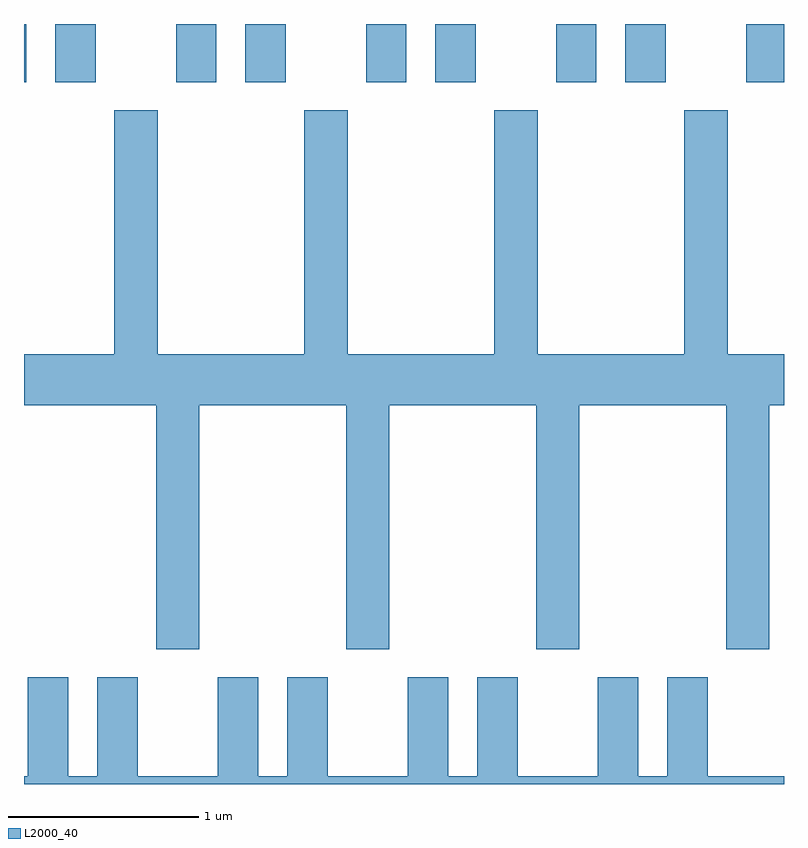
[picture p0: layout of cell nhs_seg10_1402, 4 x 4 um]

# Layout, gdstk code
import gdstk
lib = gdstk.Library(unit=1e-6, precision=1e-09)
def R(c, l, rs):  # rectangles x0, y0, x1, y1
    for r in rs: c.add(gdstk.rectangle(r[:2], r[2:], *l))
def P(c, l, *ps):  # polygons
    for p in ps: c.add(gdstk.Polygon(p, *l))
L2000_40 = (2000, 40)

nhs_seg10_1402 = lib.new_cell('nhs_seg10_1402')
R(nhs_seg10_1402, L2000_40, [(225.611,2182.216,225.624,2182.522), (225.776,2182.216,225.989,2182.522), (226.411,2182.216,226.624,2182.522), (226.776,2182.216,226.989,2182.522), (227.411,2182.216,227.624,2182.522), (227.776,2182.216,227.989,2182.522), (228.411,2182.216,228.624,2182.522), (228.776,2182.216,228.989,2182.522), (229.411,2182.216,229.611,2182.522)])
P(nhs_seg10_1402, L2000_40, [(226.534,2180.516),(227.306,2180.516),(227.306,2179.231),(227.534,2179.231),(227.534,2180.516),(228.306,2180.516),(228.306,2179.231),(228.534,2179.231),(228.534,2180.516),(229.306,2180.516),(229.306,2179.231),(229.534,2179.231),(229.534,2180.516),(229.611,2180.516),(229.611,2180.784),(229.314,2180.784),(229.314,2182.069),(229.086,2182.069),(229.086,2180.784),(228.314,2180.784),(228.314,2182.069),(228.086,2182.069),(228.086,2180.784),(227.314,2180.784),(227.314,2182.069),(227.086,2182.069),(227.086,2180.784),(226.314,2180.784),(226.314,2182.069),(226.086,2182.069),(226.086,2180.784),(225.611,2180.784),(225.611,2180.516),(226.306,2180.516),(226.306,2179.231),(226.534,2179.231)],
  [(226.996,2179.084),(226.996,2178.564),(226.844,2178.564),(226.844,2179.084),(226.631,2179.084),(226.631,2178.564),(226.209,2178.564),(226.209,2179.084),(225.996,2179.084),(225.996,2178.564),(225.844,2178.564),(225.844,2179.084),(225.631,2179.084),(225.631,2178.564),(225.611,2178.564),(225.611,2178.522),(229.611,2178.522),(229.611,2178.564),(229.209,2178.564),(229.209,2179.084),(228.996,2179.084),(228.996,2178.564),(228.844,2178.564),(228.844,2179.084),(228.631,2179.084),(228.631,2178.564),(228.209,2178.564),(228.209,2179.084),(227.996,2179.084),(227.996,2178.564),(227.844,2178.564),(227.844,2179.084),(227.631,2179.084),(227.631,2178.564),(227.209,2178.564),(227.209,2179.084)])

lib.write_gds('nhs_seg10_1402.gds')
